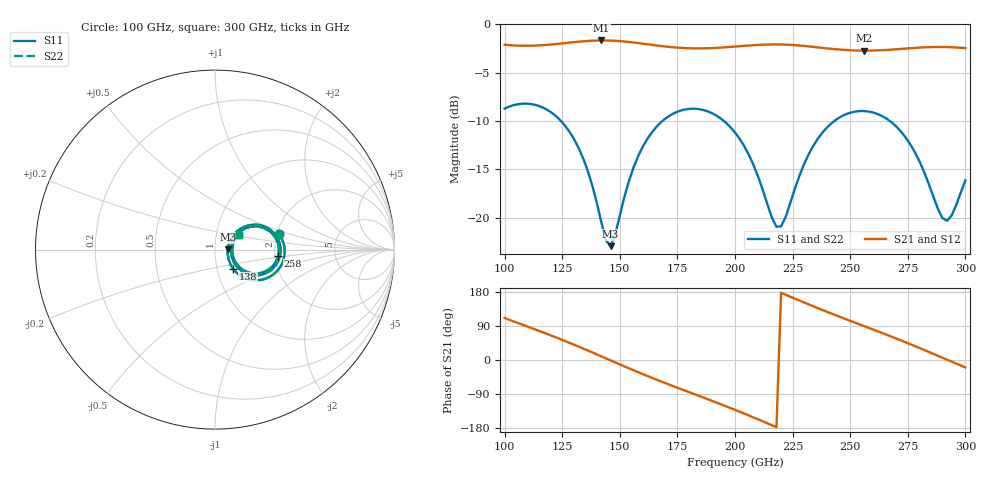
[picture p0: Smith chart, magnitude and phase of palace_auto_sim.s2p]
#  GHZ S DB R 50
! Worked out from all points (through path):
!   101 points, 100 GHz to 300 GHz, reference 50 ohm
!   highest |S21| = -1.67 dB at 142 GHz (marker M1); lowest = -2.7 dB at 256 GHz (marker M2)
!   group delay of S21, straight-line fit = 6.82 ps
!   lowest |S11| = -22.9 dB at 146 GHz (marker M3), VSWR 1.15, Z = 57.7 + j0.111 ohm
!   |S11| at or under -10 dB: 124.4 GHz to 168.5 GHz (44.11 GHz wide, 30.1 % of centre); 195.2 GHz to 243.2 GHz (48 GHz wide, 21.9 % of centre); 267.2 GHz to end of sweep
!   |S22| runs from -23.0 to -8.2 dB; largest |S21 - S12| = 9e-14
!   S11 on the Smith chart (normalised r, x): 100 GHz: 2.05, +0.41; 138 GHz: 1.19, -0.26; 258 GHz: 2.08, -0.16; 300 GHz: 1.28, +0.22
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100  -8.73 13.8  -2.12 110.8  -2.12 110.8  -8.72 13.6
118  -8.78 -19.8  -2.14 69.8  -2.14 69.8  -8.78 -19.9
134  -13.81 -45.5  -1.76 30.5  -1.76 30.5  -13.82 -45.7
138  -16.63 -46.5  -1.70 20.1  -1.70 20.1  -16.64 -46.7
142  -20.49 -36.1  -1.67 9.6  -1.67 9.6  -20.52 -36.3
146  -22.95 0.8  -1.69 -1.1  -1.69 -1.1  -22.98 0.8
156  -14.79 39.4  -1.89 -27.2  -1.89 -27.2  -14.79 39.4
168  -10.10 23.3  -2.25 -56.8  -2.25 -56.8  -10.10 23.2
184  -8.77 -5.0  -2.49 -93.9  -2.49 -93.9  -8.77 -5.0
200  -11.19 -31.3  -2.31 -131.6  -2.31 -131.6  -11.19 -31.3
210  -15.73 -38.6  -2.14 -156.6  -2.14 -156.6  -15.73 -38.6
218  -20.94 -8.9  -2.08 -177.3  -2.08 -177.3  -20.92 -8.9
222  -19.91 20.3  -2.11 172.3  -2.11 172.3  -19.90 20.2
234  -12.56 32.8  -2.34 141.7  -2.34 141.7  -12.56 32.6
244  -9.84 18.3  -2.59 117.4  -2.59 117.4  -9.84 18.2
256  -8.97 -2.1  -2.73 89.5  -2.73 89.5  -8.97 -2.3
258  -9.03 -5.6  -2.72 84.9  -2.72 84.9  -9.03 -5.7
268  -10.15 -22.2  -2.62 61.4  -2.62 61.4  -10.15 -22.3
278  -13.20 -34.8  -2.44 36.9  -2.44 36.9  -13.20 -35.0
290  -20.02 -12.4  -2.35 6.1  -2.35 6.1  -20.05 -12.7
294  -19.79 13.8  -2.38 -4.2  -2.38 -4.2  -19.82 13.7
300  -16.15 32.5  -2.47 -19.6  -2.47 -19.6  -16.16 32.4
